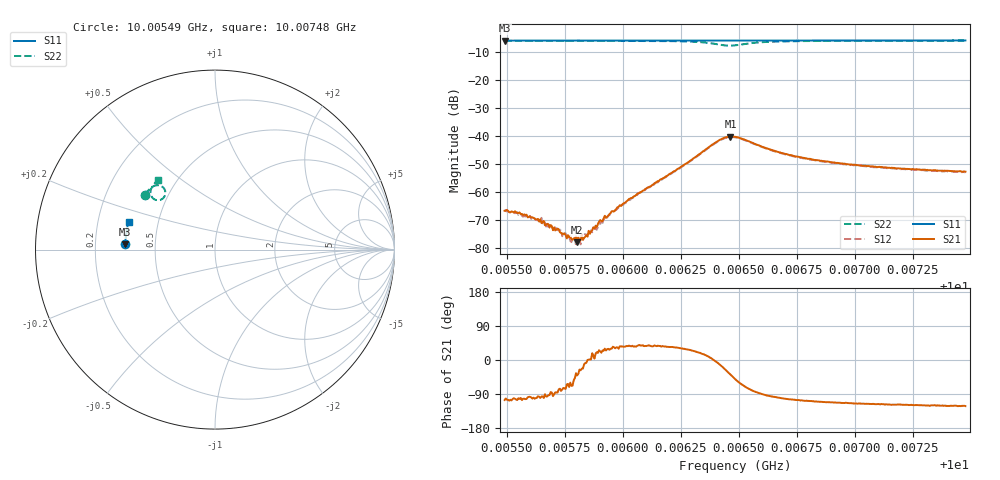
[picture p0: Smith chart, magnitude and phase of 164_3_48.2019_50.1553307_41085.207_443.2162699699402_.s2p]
#  HZ  S  RI  R  50.00
! Rohde & Schwarz Vector Network Analyzer
! Rohde-Schwarz,ZNB20-2Port,1311601062101988,3.16
! Created: UTC 3/20/2024, 11:43:21 AM
! freq[Hz]  re:S11  im:S11  re:S21  im:S21  re:S12  im:S12  re:S22  im:S22
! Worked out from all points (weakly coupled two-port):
!   401 points, 10.00549 GHz to 10.00748 GHz, reference 50 ohm
!   highest |S21| = -40.27 dB at 10.00646 GHz (marker M1); lowest = -78.1 dB at 10.0058 GHz (marker M2)
!   lowest |S11| = -6.0 dB at 10.00549 GHz (marker M3), VSWR 3.00, Z = 16.7 + j1.31 ohm
!   |S11| at or under -10 dB: nowhere
!   |S22| runs from -7.8 to -6.0 dB; largest |S21 - S12| = 0.0006
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1.000549e10  -0.4996 0.0295  -0.000123 -0.00044  -0.000101 -0.000469  -0.3904 0.3068
1.0005545e10  -0.4996 0.033  -0.000111 -0.000399  -7.59e-05 -0.000426  -0.388 0.3103
1.0005654e10  -0.4994 0.0402  -3.03e-05 -0.000285  -1.26e-05 -0.000273  -0.383 0.3168
1.0005719e10  -0.4991 0.0444  1.64e-05 -0.000219  3.79e-05 -0.000203  -0.3798 0.3207
1.0005749e10  -0.499 0.0462  4.85e-05 -0.000175  8.46e-05 -0.000148  -0.3782 0.3226
1.0005788e10  -0.4987 0.0488  8.83e-05 -0.000118  0.000114 -7.56e-05  -0.3761 0.3251
1.0005803e10  -0.4988 0.0499  9.47e-05 -8.15e-05  0.000129 -7.92e-05  -0.3753 0.3261
1.0005808e10  -0.4988 0.0502  0.000124 -9.1e-05  0.000118 -9.84e-05  -0.3751 0.3264
1.0005823e10  -0.4986 0.0511  0.00016 -6.71e-05  0.000131 -8.17e-05  -0.3744 0.3272
1.0005838e10  -0.4985 0.0521  0.000156 -2.2e-05  0.000177 -9.35e-06  -0.3734 0.3282
1.0005878e10  -0.4985 0.0547  0.00022 1.38e-05  0.000221 2.95e-05  -0.3711 0.3308
1.0005912e10  -0.4982 0.057  0.000269 0.000127  0.000246 0.000126  -0.3688 0.3332
1.0005977e10  -0.4978 0.0611  0.000443 0.000291  0.000405 0.000295  -0.3645 0.3374
1.0006156e10  -0.4966 0.0727  0.00124 0.000939  0.0012 0.000967  -0.3478 0.3506
1.0006285e10  -0.4954 0.0811  0.00307 0.00158  0.00295 0.00167  -0.3237 0.3585
1.0006409e10  -0.4938 0.0889  0.00798 -0.00106  0.00783 -0.000626  -0.278 0.3283
1.0006464e10  -0.4932 0.0919  0.00757 -0.00606  0.00771 -0.00549  -0.2907 0.2846
1.0006484e10  -0.4931 0.0929  0.00615 -0.00736  0.00639 -0.00686  -0.3062 0.2765
1.0006663e10  -0.4919 0.1045  -0.000779 -0.00519  -0.000558 -0.00514  -0.3595 0.321
1.0006817e10  -0.4902 0.1141  -0.00121 -0.00358  -0.00107 -0.00356  -0.3532 0.3444
1.000715e10  -0.4855 0.1353  -0.00124 -0.00239  -0.00108 -0.00239  -0.3349 0.3704
1.0007478e10  -0.4799 0.1557  -0.0012 -0.00195  -0.00109 -0.00195  -0.3177 0.3883
